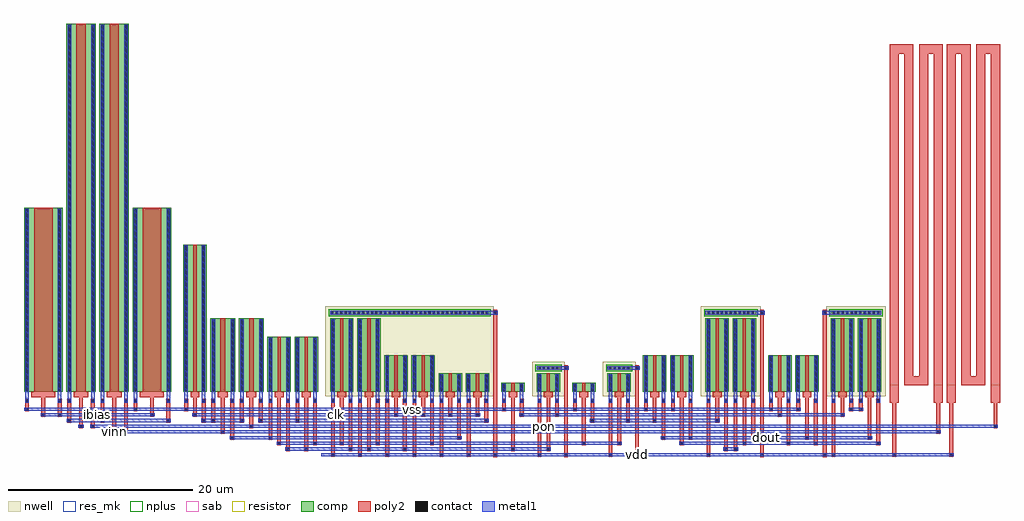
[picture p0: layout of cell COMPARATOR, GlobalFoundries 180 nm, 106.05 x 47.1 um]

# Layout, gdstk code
import gdstk
lib = gdstk.Library(unit=1e-6, precision=1e-09)
def R(c, l, rs):  # rectangles x0, y0, x1, y1
    for r in rs: c.add(gdstk.rectangle(r[:2], r[2:], *l))
def A(c, l, x, y, w, h, nx, ny, dx, dy):  # array of equal rectangles
    R(c, l, [(x+i*dx, y+j*dy, x+i*dx+w, y+j*dy+h) for i in range(nx) for j in range(ny)])
def P(c, l, *ps):  # polygons
    for p in ps: c.add(gdstk.Polygon(p, *l))
nwell = (21, 0)
comp = (22, 0)
poly2 = (30, 0)
nplus = (32, 0)
contact = (33, 0)
metal1 = (34, 0)
sab = (49, 0)
resistor = (62, 0)
res_mk = (110, 5)

comparator = lib.new_cell('COMPARATOR')
R(comparator, nwell, [(32.75,-0.5,51.05,9.3), (55.2,-0.5,58.75,3.3), (62.9,-0.5,66.45,3.3), (73.55,-0.5,80.05,9.3), (87.15,-0.5,93.65,9.3)])
A(comparator, comp, 48, 0, 2.55, 2, 3, 1, 7.7, 0)
R(comparator, comp, [(0,0,4.2,20), (4.6,0,7.8,40), (8.2,0,11.4,40), (11.8,0,16,20), (17.3,0,19.85,16), (20.25,0,22.95,8), (23.35,0,26.05,8), (26.45,0,29,6), (29.4,0,31.95,6), (33.25,0,35.8,8), (36.2,0,38.75,8), (39.15,0,41.7,4), (42.1,0,44.65,4), (45.05,0,47.6,2), (51.85,0,54.4,1), (59.55,0,62.1,1), (67.25,0,69.8,4), (70.2,0,72.75,4), (74.05,0,76.6,8), (77,0,79.55,8), (80.85,0,83.4,4), (83.8,0,86.35,4), (87.65,0,90.2,8), (90.6,0,93.15,8), (55.7,2.4,58.25,2.8), (63.4,2.4,65.95,2.8), (33.25,8.4,50.55,8.8), (74.05,8.4,79.55,8.8), (87.65,8.4,93.15,8.8)])
A(comparator, poly2, 33.37, -7.05, 0.4, 5.85, 6, 1, 2.95, 0)
A(comparator, poly2, 64.475, -5.81, 0.4, 4.61, 3, 1, 6.8, 0)
A(comparator, poly2, 40.225, -2.71, 0.4, 1.51, 4, 1, 2.95, 0)
A(comparator, poly2, 51.97, -2.09, 0.4, 0.89, 3, 1, 7.7, 0)
A(comparator, poly2, 34.325, -1.2, 0.4, 0.6, 6, 1, 2.95, 0)
A(comparator, poly2, 52.925, -1.2, 0.4, 0.6, 5, 1, 3.85, 0)
A(comparator, poly2, 34.05, -0.6, 0.95, 0.6, 6, 1, 2.95, 0)
A(comparator, poly2, 52.65, -0.6, 0.95, 0.6, 5, 1, 3.85, 0)
A(comparator, poly2, 49.1, 0, 0.35, 2, 3, 1, 7.7, 0)
R(comparator, poly2, [(51,-7.1,51.4,8.9), (58.7,-7.1,59.1,2.9), (66.4,-7.1,66.8,2.9), (80,-7.1,80.4,8.9), (86.8,-7.1,87.2,8.9), (55.82,-7.05,56.22,-1.2), (63.52,-7.05,63.92,-1.2), (74.17,-7.05,74.57,-1.2), (87.77,-7.05,88.17,-1.2), (94.35,-7.05,94.75,-1.2), (100.55,-7.05,100.95,-1.2), (28.48,-6.43,28.88,-1.2), (30.475,-6.43,30.875,-1.2), (35.28,-6.43,35.68,-1.2), (37.275,-6.43,37.675,-1.2), (41.18,-6.43,41.58,-1.2), (52.925,-6.43,53.325,-1.2), (56.775,-6.43,57.175,-1.2), (76.08,-6.43,76.48,-1.2), (77.12,-6.43,77.52,-1.2), (27.525,-5.81,27.925,-1.2), (31.43,-5.81,31.83,-1.2), (34.325,-5.81,34.725,-1.2), (38.23,-5.81,38.63,-1.2), (44.13,-5.81,44.53,-1.2), (60.625,-5.81,61.025,-1.2), (82.88,-5.81,83.28,-1.2), (85.83,-5.81,86.23,-1.2), (92.63,-5.81,93.03,-1.2), (22.43,-5.19,22.83,-1.2), (26.57,-5.19,26.97,-1.2), (47.08,-5.19,47.48,-1.2), (69.28,-5.19,69.68,-1.2), (72.23,-5.19,72.63,-1.2), (79.03,-5.19,79.43,-1.2), (84.875,-5.19,85.275,-1.2), (91.675,-5.19,92.075,-1.2), (9.6,-4.57,10,-1.2), (10.88,-4.57,11.28,-1.2), (21.4,-4.57,21.8,-1.2), (99.15,-4.57,99.55,-1.2), (6,-3.95,6.4,-1.2), (7.28,-3.95,7.68,-1.2), (24.5,-3.95,24.9,-1.2), (105.35,-3.95,105.75,-1.2), (4.72,-3.33,5.12,-1.2), (8.32,-3.33,8.72,-1.2), (15.48,-3.33,15.88,-1.2), (19.33,-3.33,19.73,-1.2), (20.37,-3.33,20.77,-1.2), (23.47,-3.33,23.87,-1.2), (25.53,-3.33,25.93,-1.2), (29.52,-3.33,29.92,-1.2), (50.03,-3.33,50.43,-1.2), (61.58,-3.33,61.98,-1.2), (65.43,-3.33,65.83,-1.2), (68.325,-3.33,68.725,-1.2), (75.125,-3.33,75.525,-1.2), (1.9,-2.71,2.3,-1.2), (3.68,-2.71,4.08,-1.2), (13.7,-2.71,14.1,-1.2), (18.375,-2.71,18.775,-1.2), (53.88,-2.71,54.28,-1.2), (57.73,-2.71,58.13,-1.2), (81.925,-2.71,82.325,-1.2), (88.725,-2.71,89.125,-1.2), (0.12,-2.09,0.52,-1.2), (11.92,-2.09,12.32,-1.2), (17.42,-2.09,17.82,-1.2), (70.32,-2.09,70.72,-1.2), (80.97,-2.09,81.37,-1.2), (83.92,-2.09,84.32,-1.2), (89.68,-2.09,90.08,-1.2), (90.72,-2.09,91.12,-1.2), (0.12,-1.2,0.52,-0.74), (1.9,-1.2,2.3,-0.6), (3.68,-1.2,4.08,-0.74), (4.72,-1.2,5.12,-0.74), (6,-1.2,6.4,-0.6), (7.28,-1.2,7.68,-0.74), (8.32,-1.2,8.72,-0.74), (9.6,-1.2,10,-0.6), (10.88,-1.2,11.28,-0.74), (11.92,-1.2,12.32,-0.74), (13.7,-1.2,14.1,-0.6), (15.48,-1.2,15.88,-0.74), (17.42,-1.2,17.82,-0.74), (18.375,-1.2,18.775,-0.6), (19.33,-1.2,19.73,-0.74), (20.37,-1.2,20.77,-0.74), (21.4,-1.2,21.8,-0.6), (22.43,-1.2,22.83,-0.74), (23.47,-1.2,23.87,-0.74), (24.5,-1.2,24.9,-0.6), (25.53,-1.2,25.93,-0.74), (26.57,-1.2,26.97,-0.74), (27.525,-1.2,27.925,-0.6), (28.48,-1.2,28.88,-0.74), (29.52,-1.2,29.92,-0.74), (30.475,-1.2,30.875,-0.6), (31.43,-1.2,31.83,-0.74), (33.37,-1.2,33.77,-0.74), (35.28,-1.2,35.68,-0.74), (36.32,-1.2,36.72,-0.74), (38.23,-1.2,38.63,-0.74), (39.27,-1.2,39.67,-0.74), (41.18,-1.2,41.58,-0.74), (42.22,-1.2,42.62,-0.74), (44.13,-1.2,44.53,-0.74), (45.17,-1.2,45.57,-0.74), (47.08,-1.2,47.48,-0.74), (48.12,-1.2,48.52,-0.74), (50.03,-1.2,50.43,-0.74), (51.97,-1.2,52.37,-0.74), (53.88,-1.2,54.28,-0.74), (55.82,-1.2,56.22,-0.74), (57.73,-1.2,58.13,-0.74), (59.67,-1.2,60.07,-0.74), (61.58,-1.2,61.98,-0.74), (63.52,-1.2,63.92,-0.74), (65.43,-1.2,65.83,-0.74), (67.37,-1.2,67.77,-0.74), (69.28,-1.2,69.68,-0.74), (70.32,-1.2,70.72,-0.74), (71.275,-1.2,71.675,-0.6), (72.23,-1.2,72.63,-0.74), (74.17,-1.2,74.57,-0.74), (75.125,-1.2,75.525,-0.6), (76.08,-1.2,76.48,-0.74), (77.12,-1.2,77.52,-0.74), (78.075,-1.2,78.475,-0.6), (79.03,-1.2,79.43,-0.74), (80.97,-1.2,81.37,-0.74), (81.925,-1.2,82.325,-0.6), (82.88,-1.2,83.28,-0.74), (83.92,-1.2,84.32,-0.74), (84.875,-1.2,85.275,-0.6), (85.83,-1.2,86.23,-0.74), (87.77,-1.2,88.17,-0.74), (88.725,-1.2,89.125,-0.6), (89.68,-1.2,90.08,-0.74), (90.72,-1.2,91.12,-0.74), (91.675,-1.2,92.075,-0.6), (92.63,-1.2,93.03,-0.74), (94.05,-1.2,95.05,0.7), (98.85,-1.2,99.85,0.7), (100.25,-1.2,101.25,0.7), (105.05,-1.2,106.05,0.7), (0.8,-0.6,3.4,0), (5.4,-0.6,7,0), (9,-0.6,10.6,0), (12.6,-0.6,15.2,0), (18.1,-0.6,19.05,0), (21.05,-0.6,22.15,0), (24.15,-0.6,25.25,0), (27.25,-0.6,28.2,0), (30.2,-0.6,31.15,0), (71,-0.6,71.95,0), (74.85,-0.6,75.8,0), (77.8,-0.6,78.75,0), (81.65,-0.6,82.6,0), (84.6,-0.6,85.55,0), (88.45,-0.6,89.4,0), (91.4,-0.6,92.35,0), (1.1,0,3.1,20), (5.7,0,6.7,40), (9.3,0,10.3,40), (12.9,0,14.9,20), (18.4,0,18.75,16), (21.35,0,21.85,8), (24.45,0,24.95,8), (27.55,0,27.9,6), (30.5,0,30.85,6), (34.35,0,34.7,8), (37.3,0,37.65,8), (40.25,0,40.6,4), (43.2,0,43.55,4), (46.15,0,46.5,2), (52.95,0,53.3,1), (60.65,0,61,1), (68.35,0,68.7,4), (71.3,0,71.65,4), (75.15,0,75.5,8), (78.1,0,78.45,8), (81.95,0,82.3,4), (84.9,0,85.25,4), (88.75,0,89.1,8), (91.7,0,92.05,8)])
P(comparator, poly2, [(94.05,0.7),(94.05,37.75),(96.65,37.75),(96.65,1.7),(97.25,1.7),(97.25,37.75),(99.85,37.75),(99.85,0.7),(98.85,0.7),(98.85,36.75),(98.25,36.75),(98.25,0.7),(95.65,0.7),(95.65,36.75),(95.05,36.75),(95.05,0.7)],
  [(100.25,0.7),(100.25,37.75),(102.85,37.75),(102.85,1.7),(103.45,1.7),(103.45,37.75),(106.05,37.75),(106.05,0.7),(105.05,0.7),(105.05,36.75),(104.45,36.75),(104.45,0.7),(101.85,0.7),(101.85,36.75),(101.25,36.75),(101.25,0.7)])
R(comparator, nplus, [(55.54,2.24,58.41,2.96), (63.24,2.24,66.11,2.96), (33.09,8.24,50.71,8.96), (73.89,8.24,79.71,8.96), (87.49,8.24,93.31,8.96)])
A(comparator, contact, 33.45, -6.95, 0.24, 0.24, 6, 1, 2.95, 0)
A(comparator, contact, 64.555, -5.71, 0.24, 0.24, 3, 1, 6.8, 0)
A(comparator, contact, 40.305, -2.61, 0.24, 0.24, 4, 1, 2.95, 0)
A(comparator, contact, 52.05, -1.99, 0.24, 0.24, 3, 1, 7.7, 0)
A(comparator, contact, 55.905, 2.49, 0.22, 0.22, 5, 1, 0.48, 0)
A(comparator, contact, 63.605, 2.49, 0.22, 0.22, 5, 1, 0.48, 0)
A(comparator, contact, 33.39, 8.49, 0.22, 0.22, 36, 1, 0.48, 0)
A(comparator, contact, 74.29, 8.49, 0.22, 0.22, 11, 1, 0.48, 0)
A(comparator, contact, 87.89, 8.49, 0.22, 0.22, 11, 1, 0.48, 0)
R(comparator, contact, [(51.08,-6.95,51.32,-6.71), (55.9,-6.95,56.14,-6.71), (58.78,-6.95,59.02,-6.71), (63.6,-6.95,63.84,-6.71), (66.48,-6.95,66.72,-6.71), (74.25,-6.95,74.49,-6.71), (80.08,-6.95,80.32,-6.71), (86.88,-6.95,87.12,-6.71), (87.85,-6.95,88.09,-6.71), (94.43,-6.95,94.67,-6.71), (100.63,-6.95,100.87,-6.71), (28.56,-6.33,28.8,-6.09), (30.555,-6.33,30.795,-6.09), (35.36,-6.33,35.6,-6.09), (37.355,-6.33,37.595,-6.09), (41.26,-6.33,41.5,-6.09), (53.005,-6.33,53.245,-6.09), (56.855,-6.33,57.095,-6.09), (76.16,-6.33,76.4,-6.09), (77.2,-6.33,77.44,-6.09), (27.605,-5.71,27.845,-5.47), (31.51,-5.71,31.75,-5.47), (34.405,-5.71,34.645,-5.47), (38.31,-5.71,38.55,-5.47), (44.21,-5.71,44.45,-5.47), (60.705,-5.71,60.945,-5.47), (82.96,-5.71,83.2,-5.47), (85.91,-5.71,86.15,-5.47), (92.71,-5.71,92.95,-5.47), (22.51,-5.09,22.75,-4.85), (26.65,-5.09,26.89,-4.85), (47.16,-5.09,47.4,-4.85), (69.36,-5.09,69.6,-4.85), (72.31,-5.09,72.55,-4.85), (79.11,-5.09,79.35,-4.85), (84.955,-5.09,85.195,-4.85), (91.755,-5.09,91.995,-4.85), (9.68,-4.47,9.92,-4.23), (10.96,-4.47,11.2,-4.23), (21.48,-4.47,21.72,-4.23), (99.23,-4.47,99.47,-4.23), (6.08,-3.85,6.32,-3.61), (7.36,-3.85,7.6,-3.61), (24.58,-3.85,24.82,-3.61), (105.43,-3.85,105.67,-3.61), (4.8,-3.23,5.04,-2.99), (8.4,-3.23,8.64,-2.99), (15.56,-3.23,15.8,-2.99), (19.41,-3.23,19.65,-2.99), (20.45,-3.23,20.69,-2.99), (23.55,-3.23,23.79,-2.99), (25.61,-3.23,25.85,-2.99), (29.6,-3.23,29.84,-2.99), (50.11,-3.23,50.35,-2.99), (61.66,-3.23,61.9,-2.99), (65.51,-3.23,65.75,-2.99), (68.405,-3.23,68.645,-2.99), (75.205,-3.23,75.445,-2.99), (1.98,-2.61,2.22,-2.37), (3.76,-2.61,4,-2.37), (13.78,-2.61,14.02,-2.37), (18.455,-2.61,18.695,-2.37), (53.96,-2.61,54.2,-2.37), (57.81,-2.61,58.05,-2.37), (82.005,-2.61,82.245,-2.37), (88.805,-2.61,89.045,-2.37), (0.2,-1.99,0.44,-1.75), (12,-1.99,12.24,-1.75), (17.5,-1.99,17.74,-1.75), (70.4,-1.99,70.64,-1.75), (81.05,-1.99,81.29,-1.75), (84,-1.99,84.24,-1.75), (89.76,-1.99,90,-1.75), (90.8,-1.99,91.04,-1.75), (0.2,-1.1,0.44,-0.86), (3.76,-1.1,4,-0.86), (4.8,-1.1,5.04,-0.86), (7.36,-1.1,7.6,-0.86), (8.4,-1.1,8.64,-0.86), (10.96,-1.1,11.2,-0.86), (12,-1.1,12.24,-0.86), (15.56,-1.1,15.8,-0.86), (17.5,-1.1,17.74,-0.86), (19.41,-1.1,19.65,-0.86), (20.45,-1.1,20.69,-0.86), (22.51,-1.1,22.75,-0.86), (23.55,-1.1,23.79,-0.86), (25.61,-1.1,25.85,-0.86), (26.65,-1.1,26.89,-0.86), (28.56,-1.1,28.8,-0.86), (29.6,-1.1,29.84,-0.86), (31.51,-1.1,31.75,-0.86), (33.45,-1.1,33.69,-0.86), (35.36,-1.1,35.6,-0.86), (36.4,-1.1,36.64,-0.86), (38.31,-1.1,38.55,-0.86), (39.35,-1.1,39.59,-0.86), (41.26,-1.1,41.5,-0.86), (42.3,-1.1,42.54,-0.86), (44.21,-1.1,44.45,-0.86), (45.25,-1.1,45.49,-0.86), (47.16,-1.1,47.4,-0.86), (48.2,-1.1,48.44,-0.86), (50.11,-1.1,50.35,-0.86), (52.05,-1.1,52.29,-0.86), (53.96,-1.1,54.2,-0.86), (55.9,-1.1,56.14,-0.86), (57.81,-1.1,58.05,-0.86), (59.75,-1.1,59.99,-0.86), (61.66,-1.1,61.9,-0.86), (63.6,-1.1,63.84,-0.86), (65.51,-1.1,65.75,-0.86), (67.45,-1.1,67.69,-0.86), (69.36,-1.1,69.6,-0.86), (70.4,-1.1,70.64,-0.86), (72.31,-1.1,72.55,-0.86), (74.25,-1.1,74.49,-0.86), (76.16,-1.1,76.4,-0.86), (77.2,-1.1,77.44,-0.86), (79.11,-1.1,79.35,-0.86), (81.05,-1.1,81.29,-0.86), (82.96,-1.1,83.2,-0.86), (84,-1.1,84.24,-0.86), (85.91,-1.1,86.15,-0.86), (87.85,-1.1,88.09,-0.86), (89.76,-1.1,90,-0.86), (90.8,-1.1,91.04,-0.86), (92.71,-1.1,92.95,-0.86), (0.19,0.15,0.45,19.85), (3.75,0.15,4.01,19.85), (4.79,0.15,5.05,39.85), (7.35,0.15,7.61,39.85), (8.39,0.15,8.65,39.85), (10.95,0.15,11.21,39.85), (11.99,0.15,12.25,19.85), (15.55,0.15,15.81,19.85), (17.49,0.15,17.75,15.85), (19.4,0.15,19.66,15.85), (20.44,0.15,20.7,7.85), (22.5,0.15,22.76,7.85), (23.54,0.15,23.8,7.85), (25.6,0.15,25.86,7.85), (26.64,0.15,26.9,5.85), (28.55,0.15,28.81,5.85), (29.59,0.15,29.85,5.85), (31.5,0.15,31.76,5.85), (33.44,0.15,33.7,7.85), (35.35,0.15,35.61,7.85), (36.39,0.15,36.65,7.85), (38.3,0.15,38.56,7.85), (39.34,0.15,39.6,3.85), (41.25,0.15,41.51,3.85), (42.29,0.15,42.55,3.85), (44.2,0.15,44.46,3.85), (45.24,0.15,45.5,1.85), (47.15,0.15,47.41,1.85), (48.19,0.15,48.45,1.85), (50.1,0.15,50.36,1.85), (52.04,0.15,52.3,0.85), (53.95,0.15,54.21,0.85), (55.89,0.15,56.15,1.85), (57.8,0.15,58.06,1.85), (59.74,0.15,60,0.85), (61.65,0.15,61.91,0.85), (63.59,0.15,63.85,1.85), (65.5,0.15,65.76,1.85), (67.44,0.15,67.7,3.85), (69.35,0.15,69.61,3.85), (70.39,0.15,70.65,3.85), (72.3,0.15,72.56,3.85), (74.24,0.15,74.5,7.85), (76.15,0.15,76.41,7.85), (77.19,0.15,77.45,7.85), (79.1,0.15,79.36,7.85), (81.04,0.15,81.3,3.85), (82.95,0.15,83.21,3.85), (83.99,0.15,84.25,3.85), (85.9,0.15,86.16,3.85), (87.84,0.15,88.1,7.85), (89.75,0.15,90.01,7.85), (90.79,0.15,91.05,7.85), (92.7,0.15,92.96,7.85), (58.78,2.48,59.02,2.72), (66.48,2.48,66.72,2.72), (51.08,8.48,51.32,8.72), (80.08,8.48,80.32,8.72), (86.88,8.48,87.12,8.72)])
R(comparator, metal1, [(32.32,-7,101.03,-6.66), (28.4,-6.38,57.255,-6.04), (76,-6.38,77.6,-6.04), (27.445,-5.76,64.955,-5.42), (71.195,-5.76,93.11,-5.42), (22.35,-5.14,47.56,-4.8), (69.2,-5.14,92.155,-4.8), (9.52,-4.52,10.08,-4.18), (10.8,-4.52,99.63,-4.18), (5.92,-3.9,6.48,-3.56), (7.2,-3.9,105.83,-3.56), (4.64,-3.28,15.96,-2.94), (19.25,-3.28,23.95,-2.94), (25.45,-3.28,50.51,-2.94), (61.5,-3.28,75.605,-2.94), (1.82,-2.66,14.18,-2.32), (18.295,-2.66,49.555,-2.32), (53.8,-2.66,89.205,-2.32), (0.04,-2.04,84.4,-1.7), (89.6,-2.04,91.2,-1.7), (0.13,-1.2,0.51,0.09), (3.69,-1.2,4.07,0.09), (4.73,-1.2,5.11,0.09), (7.29,-1.2,7.67,0.09), (8.33,-1.2,8.71,0.09), (10.89,-1.2,11.27,0.09), (11.93,-1.2,12.31,0.09), (15.49,-1.2,15.87,0.09), (17.43,-1.2,17.81,0.09), (19.34,-1.2,19.72,0.09), (20.38,-1.2,20.76,0.09), (22.44,-1.2,22.82,0.09), (23.48,-1.2,23.86,0.09), (25.54,-1.2,25.92,0.09), (26.58,-1.2,26.96,0.09), (28.49,-1.2,28.87,0.09), (29.53,-1.2,29.91,0.09), (31.44,-1.2,31.82,0.09), (33.38,-1.2,33.76,0.09), (35.29,-1.2,35.67,0.09), (36.33,-1.2,36.71,0.09), (38.24,-1.2,38.62,0.09), (39.28,-1.2,39.66,0.09), (41.19,-1.2,41.57,0.09), (42.23,-1.2,42.61,0.09), (44.14,-1.2,44.52,0.09), (45.18,-1.2,45.56,0.09), (47.09,-1.2,47.47,0.09), (48.13,-1.2,48.51,0.09), (50.04,-1.2,50.42,0.09), (51.98,-1.2,52.36,0.09), (53.89,-1.2,54.27,0.09), (55.83,-1.2,56.21,0.09), (57.74,-1.2,58.12,0.09), (59.68,-1.2,60.06,0.09), (61.59,-1.2,61.97,0.09), (63.53,-1.2,63.91,0.09), (65.44,-1.2,65.82,0.09), (67.38,-1.2,67.76,0.09), (69.29,-1.2,69.67,0.09), (70.33,-1.2,70.71,0.09), (72.24,-1.2,72.62,0.09), (74.18,-1.2,74.56,0.09), (76.09,-1.2,76.47,0.09), (77.13,-1.2,77.51,0.09), (79.04,-1.2,79.42,0.09), (80.98,-1.2,81.36,0.09), (82.89,-1.2,83.27,0.09), (83.93,-1.2,84.31,0.09), (85.84,-1.2,86.22,0.09), (87.78,-1.2,88.16,0.09), (89.69,-1.2,90.07,0.09), (90.73,-1.2,91.11,0.09), (92.64,-1.2,93.02,0.09), (0.13,0.09,0.51,19.91), (3.69,0.09,4.07,19.91), (4.73,0.09,5.11,39.91), (7.29,0.09,7.67,39.91), (8.33,0.09,8.71,39.91), (10.89,0.09,11.27,39.91), (11.93,0.09,12.31,19.91), (15.49,0.09,15.87,19.91), (17.43,0.09,17.81,15.91), (19.34,0.09,19.72,15.91), (20.38,0.09,20.76,7.91), (22.44,0.09,22.82,7.91), (23.48,0.09,23.86,7.91), (25.54,0.09,25.92,7.91), (26.58,0.09,26.96,5.91), (28.49,0.09,28.87,5.91), (29.53,0.09,29.91,5.91), (31.44,0.09,31.82,5.91), (33.38,0.09,33.76,7.91), (35.29,0.09,35.67,7.91), (36.33,0.09,36.71,7.91), (38.24,0.09,38.62,7.91), (39.28,0.09,39.66,3.91), (41.19,0.09,41.57,3.91), (42.23,0.09,42.61,3.91), (44.14,0.09,44.52,3.91), (45.18,0.09,45.56,1.91), (47.09,0.09,47.47,1.91), (48.13,0.09,48.51,1.91), (50.04,0.09,50.42,1.91), (51.98,0.09,52.36,0.91), (53.89,0.09,54.27,0.91), (55.83,0.09,56.21,1.91), (57.74,0.09,58.12,1.91), (59.68,0.09,60.06,0.91), (61.59,0.09,61.97,0.91), (63.53,0.09,63.91,1.91), (65.44,0.09,65.82,1.91), (67.38,0.09,67.76,3.91), (69.29,0.09,69.67,3.91), (70.33,0.09,70.71,3.91), (72.24,0.09,72.62,3.91), (74.18,0.09,74.56,7.91), (76.09,0.09,76.47,7.91), (77.13,0.09,77.51,7.91), (79.04,0.09,79.42,7.91), (80.98,0.09,81.36,3.91), (82.89,0.09,83.27,3.91), (83.93,0.09,84.31,3.91), (85.84,0.09,86.22,3.91), (87.78,0.09,88.16,7.91), (89.69,0.09,90.07,7.91), (90.73,0.09,91.11,7.91), (92.64,0.09,93.02,7.91), (55.7,2.4,58.25,2.8), (55.7,2.4,59.18,2.8), (63.4,2.4,65.95,2.8), (63.4,2.4,66.88,2.8), (33.25,8.4,50.55,8.8), (33.25,8.4,51.48,8.8), (74.05,8.4,79.55,8.8), (74.05,8.4,80.48,8.8), (86.72,8.4,93.15,8.8), (87.65,8.4,93.15,8.8)])
P(comparator, sab, [(94.05,0.7),(94.05,37.75),(96.65,37.75),(96.65,1.7),(97.25,1.7),(97.25,37.75),(99.85,37.75),(99.85,0.7),(98.85,0.7),(98.85,36.75),(98.25,36.75),(98.25,0.7),(95.65,0.7),(95.65,36.75),(95.05,36.75),(95.05,0.7)],
  [(100.25,0.7),(100.25,37.75),(102.85,37.75),(102.85,1.7),(103.45,1.7),(103.45,37.75),(106.05,37.75),(106.05,0.7),(105.05,0.7),(105.05,36.75),(104.45,36.75),(104.45,0.7),(101.85,0.7),(101.85,36.75),(101.25,36.75),(101.25,0.7)])
P(comparator, resistor, [(94.05,0.7),(94.05,37.75),(96.65,37.75),(96.65,1.7),(97.25,1.7),(97.25,37.75),(99.85,37.75),(99.85,0.7),(98.85,0.7),(98.85,36.75),(98.25,36.75),(98.25,0.7),(95.65,0.7),(95.65,36.75),(95.05,36.75),(95.05,0.7)],
  [(100.25,0.7),(100.25,37.75),(102.85,37.75),(102.85,1.7),(103.45,1.7),(103.45,37.75),(106.05,37.75),(106.05,0.7),(105.05,0.7),(105.05,36.75),(104.45,36.75),(104.45,0.7),(101.85,0.7),(101.85,36.75),(101.25,36.75),(101.25,0.7)])
P(comparator, res_mk, [(94.05,0.7),(94.05,37.75),(96.65,37.75),(96.65,1.7),(97.25,1.7),(97.25,37.75),(99.85,37.75),(99.85,0.7),(98.85,0.7),(98.85,36.75),(98.25,36.75),(98.25,0.7),(95.65,0.7),(95.65,36.75),(95.05,36.75),(95.05,0.7)],
  [(100.25,0.7),(100.25,37.75),(102.85,37.75),(102.85,1.7),(103.45,1.7),(103.45,37.75),(106.05,37.75),(106.05,0.7),(105.05,0.7),(105.05,36.75),(104.45,36.75),(104.45,0.7),(101.85,0.7),(101.85,36.75),(101.25,36.75),(101.25,0.7)])
comparator.add(gdstk.Label('vss', (42.22,-1.87), layer=34, texttype=10))
comparator.add(gdstk.Label('ibias', (8,-2.49), layer=34, texttype=10))
comparator.add(gdstk.Label('vinp', (6.2,-3.73), layer=34, texttype=10))
comparator.add(gdstk.Label('pon', (56.515,-3.73), layer=34, texttype=10))
comparator.add(gdstk.Label('vinn', (9.8,-4.35), layer=34, texttype=10))
comparator.add(gdstk.Label('pop', (55.215,-4.35), layer=34, texttype=10))
comparator.add(gdstk.Label('clk', (33.925,-2.49), layer=34, texttype=10))
comparator.add(gdstk.Label('vdd', (66.675,-6.83), layer=34, texttype=10))
comparator.add(gdstk.Label('dout', (80.677,-4.97), layer=34, texttype=10))
comparator.add(gdstk.Label('doutb', (82.152,-5.59), layer=34, texttype=10))

lib.write_gds('COMPARATOR.gds')
